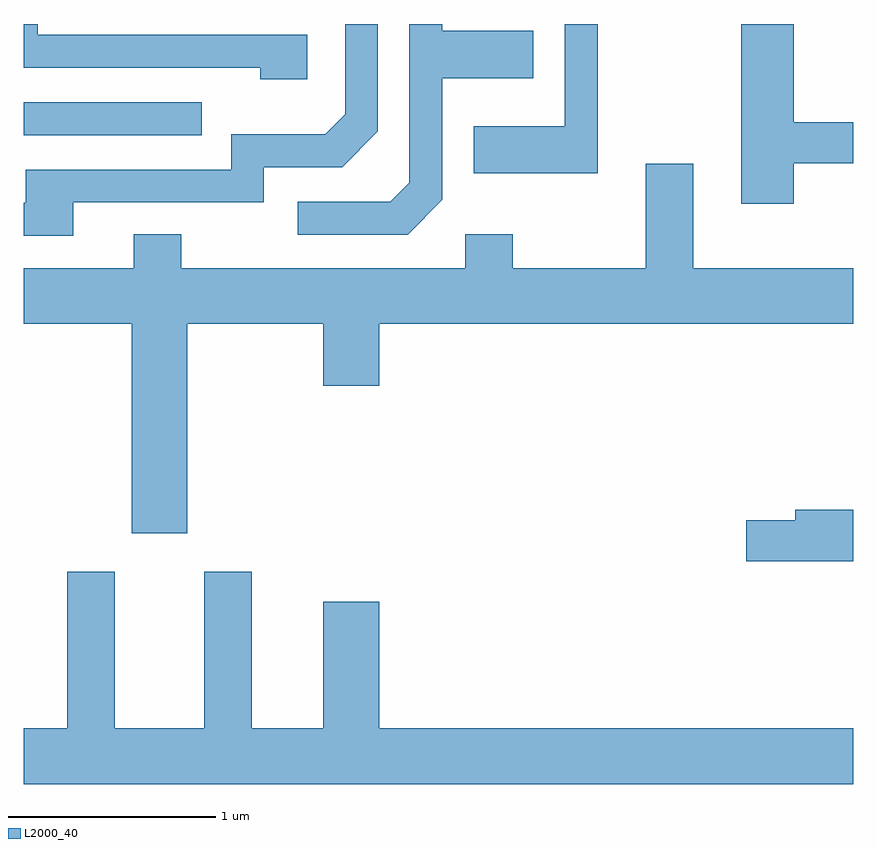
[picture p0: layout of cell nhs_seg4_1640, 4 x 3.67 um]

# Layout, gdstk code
import gdstk
lib = gdstk.Library(unit=1e-6, precision=1e-09)
def R(c, l, rs):  # rectangles x0, y0, x1, y1
    for r in rs: c.add(gdstk.rectangle(r[:2], r[2:], *l))
def P(c, l, *ps):  # polygons
    for p in ps: c.add(gdstk.Polygon(p, *l))
L2000_40 = (2000, 40)

nhs_seg4_1640 = lib.new_cell('nhs_seg4_1640')
R(nhs_seg4_1640, L2000_40, [(233.611,1273.446,234.468,1273.604)])
P(nhs_seg4_1640, L2000_40, [(236.379,1273.982),(236.221,1273.982),(236.221,1273.489),(235.781,1273.489),(235.781,1273.261),(236.379,1273.261)],
  [(234.979,1273.929),(233.679,1273.929),(233.679,1273.982),(233.611,1273.982),(233.611,1273.771),(234.751,1273.771),(234.751,1273.716),(234.979,1273.716)],
  [(235.629,1273.134),(235.629,1273.721),(236.069,1273.721),(236.069,1273.949),(235.629,1273.949),(235.629,1273.982),(235.471,1273.982),(235.471,1273.217),(235.379,1273.124),(234.933,1273.124),(234.933,1272.966),(235.462,1272.966)],
  [(233.849,1273.121),(234.769,1273.121),(234.769,1273.291),(235.147,1273.291),(235.319,1273.464),(235.319,1273.982),(235.161,1273.982),(235.161,1273.547),(235.064,1273.449),(234.611,1273.449),(234.611,1273.279),(233.621,1273.279),(233.621,1273.119),(233.611,1273.119),(233.611,1272.961),(233.849,1272.961)],
  [(237.324,1273.311),(237.611,1273.311),(237.611,1273.509),(237.324,1273.509),(237.324,1273.982),(237.071,1273.982),(237.071,1273.116),(237.324,1273.116)],
  [(234.399,1272.536),(235.056,1272.536),(235.056,1272.236),(235.324,1272.236),(235.324,1272.536),(237.611,1272.536),(237.611,1272.804),(236.839,1272.804),(236.839,1273.309),(236.611,1273.309),(236.611,1272.804),(235.969,1272.804),(235.969,1272.969),(235.741,1272.969),(235.741,1272.804),(234.369,1272.804),(234.369,1272.969),(234.141,1272.969),(234.141,1272.804),(233.611,1272.804),(233.611,1272.536),(234.131,1272.536),(234.131,1271.526),(234.399,1271.526)],
  [(237.611,1271.639),(237.331,1271.639),(237.331,1271.589),(237.096,1271.589),(237.096,1271.391),(237.611,1271.391)],
  [(237.611,1270.584),(235.324,1270.584),(235.324,1271.194),(235.056,1271.194),(235.056,1270.584),(234.709,1270.584),(234.709,1271.339),(234.481,1271.339),(234.481,1270.584),(234.049,1270.584),(234.049,1271.339),(233.821,1271.339),(233.821,1270.584),(233.611,1270.584),(233.611,1270.316),(237.611,1270.316)])

lib.write_gds('nhs_seg4_1640.gds')
